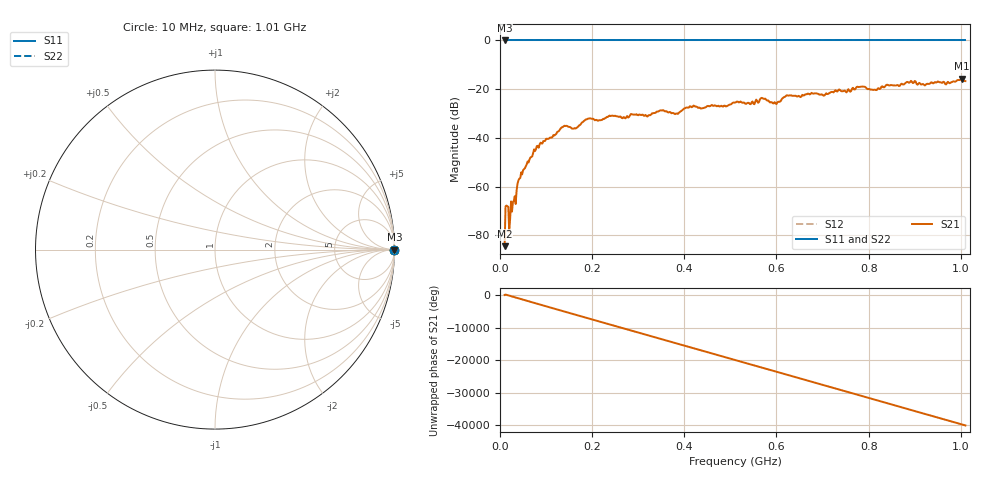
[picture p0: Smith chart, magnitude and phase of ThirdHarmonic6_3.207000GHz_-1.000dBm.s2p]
! 8/17/2025 9:45:21 AM
! C:\ANRITSUVNA\TEMP\TEMP.S2P
! CHANNEL.1
! TR.MEASUREMENT
! RAW.DATA
! RF.CORRECTION.OFF
! AVERAGING.OFF
! IF.BANDWIDTH: 5KHZ
! SWEEPTYPE:  FREQ.SWEEP(Linear)
! Reference Plane Port Info
! PORT:  PORT1  PORT2
! DISTANCE:  0  m  0  m
! TIME:  0  s  0  s
! PHASE.OFFSET:  0  deg.  0  deg.
! LOSS:  0  dB  0  dB
! REF.LOSS:  0  dB  0  dB
! REF.FREQ:  0  Hz  0  Hz
! Power Info
! POWER:  -20  dBm  -20  dBm
! EFF.POWER:  -20  dBm  -20  dBm
! SOURCE.ATTEN:  0  dB  0  dB
! TEST.ATTEN:  0  dB  0  dB
# GHZ S RI R 50.0
! FREQ.GHZ  S11RE  S11IM  S21RE  S21IM  S12RE  S12IM  S22RE  S22IM
!; PortSelection: Port_12
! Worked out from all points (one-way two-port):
!   501 points, 10 MHz to 1.01 GHz, reference 50 ohm
!   highest |S21| = -15.70 dB at 1.002 GHz (marker M1); lowest = -84.5 dB at 10 MHz (marker M2)
!   lowest |S11| = 0.0 dB at 10 MHz (marker M3)
!   |S11| at or under -10 dB: nowhere
!   |S22| runs from 0.0 to 0.0 dB; largest |S21 - S12| = 1.2
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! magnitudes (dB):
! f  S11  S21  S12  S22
! 10 MHz  0.0  -84.5  0.0  0.0
! 14 MHz  0.0  -67.8  0.0  0.0
! 24 MHz  0.0  -66.1  0.0  0.0
! 42 MHz  0.0  -56.7  0.0  0.0
! 78 MHz  0.0  -44.7  0.0  0.0
! 136 MHz  0.0  -35.6  0.0  0.0
! 162 MHz  0.0  -36.0  0.0  0.0
! 178 MHz  0.0  -33.7  0.0  0.0
! 344 MHz  0.0  -29.1  0.0  0.0
! 384 MHz  0.0  -30.0  0.0  0.0
! 416 MHz  0.0  -27.4  0.0  0.0
! 510 MHz  0.0  -25.5  0.0  0.0
! 548 MHz  0.0  -25.1  0.0  0.0
! 570 MHz  0.0  -23.8  0.0  0.0
! 596 MHz  0.0  -25.3  0.0  0.0
! 624 MHz  0.0  -22.6  0.0  0.0
! 678 MHz  0.0  -21.7  0.0  0.0
! 784 MHz  0.0  -19.0  0.0  0.0
! 814 MHz  0.0  -20.2  0.0  0.0
! 844 MHz  0.0  -18.4  0.0  0.0
! 1.002 GHz  0.0  -15.7  0.0  0.0
! 1.01 GHz  0.0  -16.7  0.0  0.0
